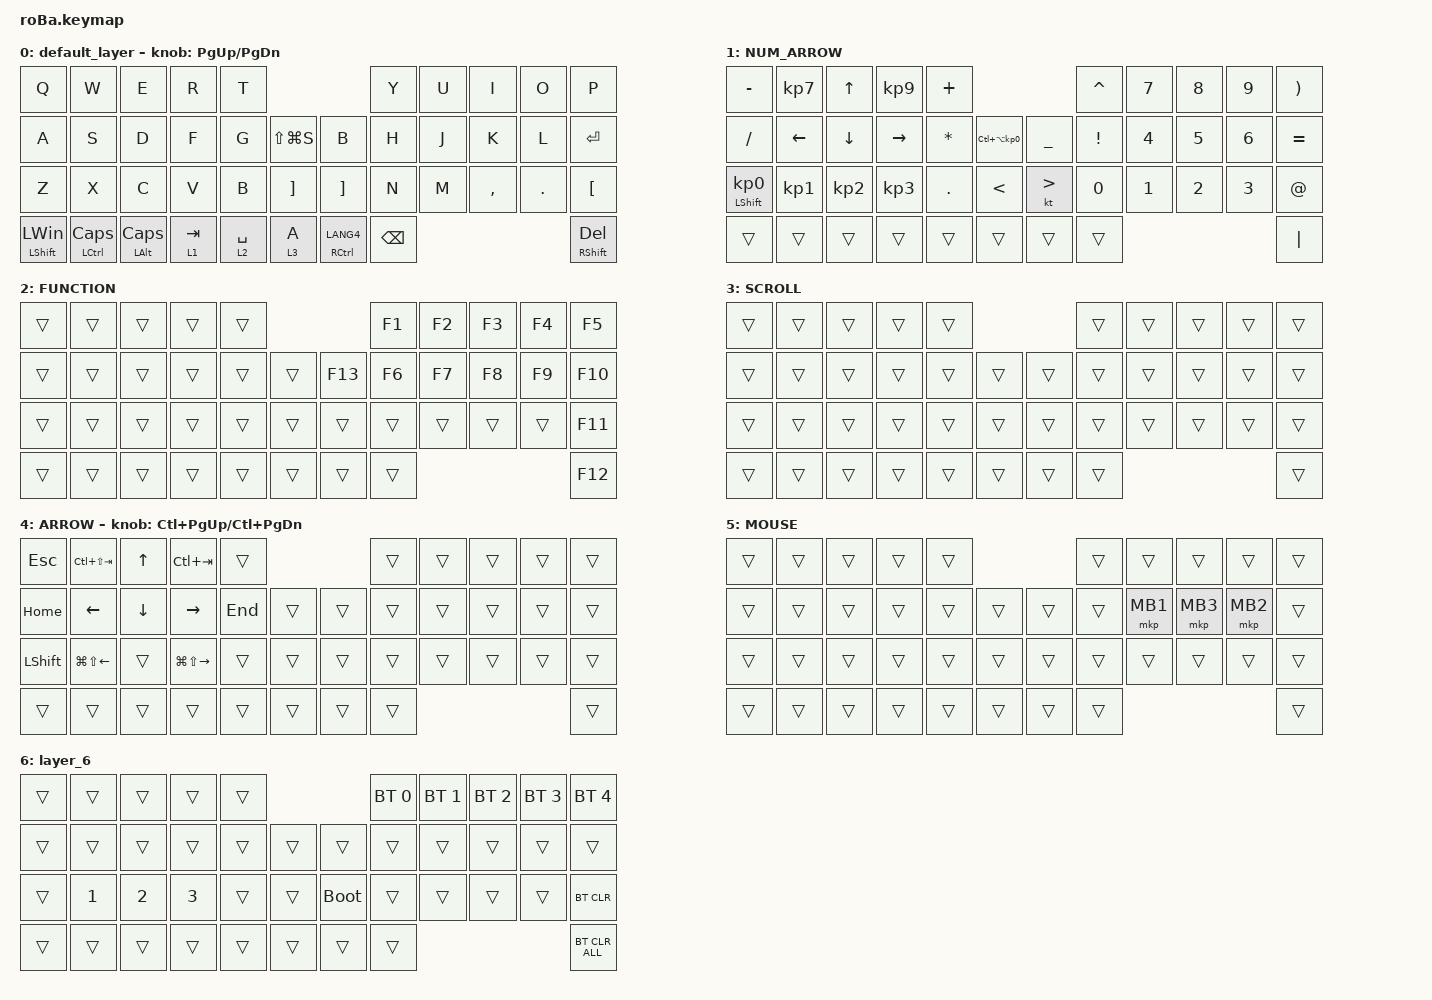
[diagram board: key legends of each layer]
#include <behaviors.dtsi>
#include <dt-bindings/zmk/bt.h>
#include <dt-bindings/zmk/keys.h>
#include <dt-bindings/zmk/keys.h>
#include <dt-bindings/zmk/pointing.h>

#define MOUSE 4
#define SCROLL 5
#define NUM 6

&mt {
    flavor = "balanced";
    quick-tap-ms = <0>;
};

/ {
    combos {
        compatible = "zmk,combos";

        left_click {
            bindings = <&mkp MB1>;
            key-positions = <18 19>;
        };

        right_click {
            bindings = <&mkp MB2>;
            key-positions = <19 20>;
        };

        nobasi {
            bindings = <&kt MINUS>;
            key-positions = <8 9>;
        };
    };

    macros {
        to_layer_0: to_layer_0 {
            compatible = "zmk,behavior-macro-one-param";
            #binding-cells = <1>;
            bindings = <&to 0 &macro_param_1to1 &kp MACRO_PLACEHOLDER>;
            label = "TO_LAYER_0";
        };
    };

    behaviors {
        lt_to_layer_0: lt_to_layer_0 {
            compatible = "zmk,behavior-hold-tap";
            label = "LAYER_TAP_TO_0";
            bindings = <&mo>, <&to_layer_0>;

            #binding-cells = <2>;
            tapping-term-ms = <200>;
        };
    };

    keymap {
        compatible = "zmk,keymap";

        default_layer {
            bindings = <
&kp Q                    &kp W                      &kp E                  &kp R      &kp T                                                        &kp Y          &kp U  &kp I      &kp O       &kp P
&kp A                    &kp S                      &kp D                  &kp F      &kp G        &kp LS(LG(S))          &kp B                    &kp H          &kp J  &kp K      &kp L       &kp ENTER
&kp Z                    &kp X                      &kp C                  &kp V      &kp B        &kp RIGHT_BRACKET      &kp RBKT                 &kp N          &kp M  &kp COMMA  &kp PERIOD  &kp LEFT_BRACKET
&mt LEFT_SHIFT LEFT_WIN  &mt LEFT_CONTROL CAPSLOCK  &mt LEFT_ALT CAPSLOCK  &lt 1 TAB  &lt 2 SPACE  &lt 3 A                &mt RIGHT_CONTROL LANG4  &kp BACKSPACE                                &mt RIGHT_SHIFT DELETE
            >;

            sensor-bindings = <&inc_dec_kp PG_UP PAGE_DOWN>;
        };

        NUM_ARROW {
            bindings = <
&kp MINUS                   &kp KP_NUMBER_7  &kp UP_ARROW     &kp KP_NUMBER_9  &kp PLUS                                                     &kp CARET        &kp N7        &kp N8        &kp N9        &kp RIGHT_PARENTHESIS
&kp SLASH                   &kp LEFT_ARROW   &kp DOWN_ARROW   &kp RIGHT_ARROW  &kp ASTERISK  &kp LC(LA(KP_NUMBER_0))      &kp UNDERSCORE    &kp EXCLAMATION  &kp NUMBER_4  &kp N5        &kp NUMBER_6  &kp EQUAL
&mt LEFT_SHIFT KP_NUMBER_0  &kp KP_NUMBER_1  &kp KP_NUMBER_2  &kp KP_NUMBER_3  &kp PERIOD    &kp LESS_THAN                &kt GREATER_THAN  &kp N0           &kp NUMBER_1  &kp NUMBER_2  &kp NUMBER_3  &kp AT_SIGN
&trans                      &trans           &trans           &trans           &trans        &trans                       &trans            &trans                                                     &kp PIPE
            >;
        };

        FUNCTION {
            bindings = <
&trans  &trans  &trans  &trans  &trans                       &kp F1  &kp F2  &kp F3  &kp F4  &kp F5
&trans  &trans  &trans  &trans  &trans  &trans      &kp F13  &kp F6  &kp F7  &kp F8  &kp F9  &kp F10
&trans  &trans  &trans  &trans  &trans  &trans      &trans   &trans  &trans  &trans  &trans  &kp F11
&trans  &trans  &trans  &trans  &trans  &trans      &trans   &trans                          &kp F12
            >;
        };

        SCROLL {
            bindings = <
&trans  &trans  &trans  &trans  &trans                      &trans  &trans  &trans  &trans  &trans
&trans  &trans  &trans  &trans  &trans  &trans      &trans  &trans  &trans  &trans  &trans  &trans
&trans  &trans  &trans  &trans  &trans  &trans      &trans  &trans  &trans  &trans  &trans  &trans
&trans  &trans  &trans  &trans  &trans  &trans      &trans  &trans                          &trans
            >;
        };

        ARROW {
            bindings = <
&kp ESCAPE      &kp LC(LS(TAB))         &kp UP_ARROW    &kp LC(TAB)              &trans                       &trans  &trans  &trans  &trans  &trans
&kp HOME        &kp LEFT_ARROW          &kp DOWN_ARROW  &kp RIGHT_ARROW          &kp END  &trans      &trans  &trans  &trans  &trans  &trans  &trans
&kp LEFT_SHIFT  &kp LG(LS(LEFT_ARROW))  &trans          &kp LG(LS(RIGHT_ARROW))  &trans   &trans      &trans  &trans  &trans  &trans  &trans  &trans
&trans          &trans                  &trans          &trans                   &trans   &trans      &trans  &trans                          &trans
            >;

            sensor-bindings = <&inc_dec_kp LC(PAGE_UP) LC(PAGE_DOWN)>;
        };

        MOUSE {
            bindings = <
&trans  &trans  &trans  &trans  &trans                      &trans  &trans    &trans    &trans    &trans
&trans  &trans  &trans  &trans  &trans  &trans      &trans  &trans  &mkp MB1  &mkp MB3  &mkp MB2  &trans
&trans  &trans  &trans  &trans  &trans  &trans      &trans  &trans  &trans    &trans    &trans    &trans
&trans  &trans  &trans  &trans  &trans  &trans      &trans  &trans                                &trans
            >;
        };

        layer_6 {
            bindings = <
&trans  &trans        &trans        &trans        &trans                           &bt BT_SEL 0  &bt BT_SEL 1  &bt BT_SEL 2  &bt BT_SEL 3  &bt BT_SEL 4
&trans  &trans        &trans        &trans        &trans  &trans      &trans       &trans        &trans        &trans        &trans        &trans
&trans  &kp NUMBER_1  &kp NUMBER_2  &kp NUMBER_3  &trans  &trans      &bootloader  &trans        &trans        &trans        &trans        &bt BT_CLR
&trans  &trans        &trans        &trans        &trans  &trans      &trans       &trans                                                  &bt BT_CLR_ALL
            >;
        };
    };

    conditional_layers {
        compatible = "zmk,conditional-layers";

        test {
            if-layers = <3>;
            then-layer = <3>;
        };
    };
};
